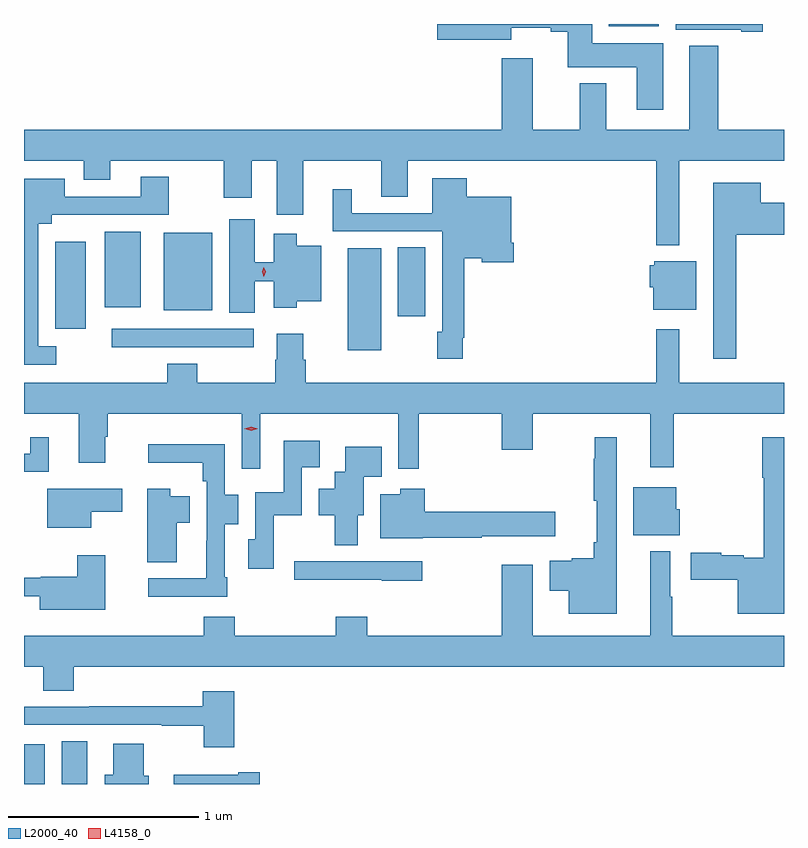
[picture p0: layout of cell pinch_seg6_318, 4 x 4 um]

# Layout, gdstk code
import gdstk
lib = gdstk.Library(unit=1e-6, precision=1e-09)
def R(c, l, rs):  # rectangles x0, y0, x1, y1
    for r in rs: c.add(gdstk.rectangle(r[:2], r[2:], *l))
def P(c, l, *ps):  # polygons
    for p in ps: c.add(gdstk.Polygon(p, *l))
L2000_40 = (2000, 40)
L4158_0 = (4158, 0)

pinch_seg6_318 = lib.new_cell('pinch_seg6_318')
R(pinch_seg6_318, L2000_40, [(665.99,982.684,666.1,982.894), (666.188,982.684,666.322,982.91), (667.694,984.968,667.87,985.504), (666.453,984.984,667.198,985.08), (666.155,985.079,666.316,985.537), (667.958,985.146,668.101,985.508), (666.725,985.178,666.982,985.585), (666.416,985.193,666.604,985.591), (669.068,986.672,669.331,986.684)])
P(pinch_seg6_318, L2000_40, [(669.877,986.684),(669.419,986.684),(669.419,986.654),(669.764,986.654),(669.764,986.642),(669.877,986.642)],
  [(669.355,986.584),(668.98,986.584),(668.98,986.684),(668.166,986.684),(668.166,986.602),(668.554,986.602),(668.554,986.663),(668.762,986.663),(668.762,986.644),(668.851,986.644),(668.851,986.456),(669.215,986.456),(669.215,986.232),(669.355,986.232)],
  [(669.439,985.964),(669.99,985.964),(669.99,986.128),(669.644,986.128),(669.644,986.569),(669.491,986.569),(669.491,986.128),(669.055,986.128),(669.055,986.371),(668.915,986.371),(668.915,986.128),(668.668,986.128),(668.668,986.503),(668.504,986.503),(668.504,986.128),(665.99,986.128),(665.99,985.964),(666.305,985.964),(666.305,985.865),(666.445,985.865),(666.445,985.964),(667.042,985.964),(667.042,985.77),(667.189,985.77),(667.189,985.964),(667.319,985.964),(667.319,985.68),(667.459,985.68),(667.459,985.964),(667.871,985.964),(667.871,985.774),(668.011,985.774),(668.011,985.964),(669.318,985.964),(669.318,985.52),(669.439,985.52)],
  [(666.16,984.987),(666.066,984.987),(666.066,985.634),(666.136,985.634),(666.136,985.68),(666.753,985.68),(666.753,985.879),(666.605,985.879),(666.605,985.776),(666.205,985.776),(666.205,985.87),(665.99,985.87),(665.99,984.891),(666.16,984.891)],
  [(668.299,985.033),(668.306,985.033),(668.306,985.451),(668.4,985.451),(668.4,985.43),(668.567,985.43),(668.567,985.534),(668.554,985.534),(668.554,985.774),(668.32,985.774),(668.32,985.873),(668.138,985.873),(668.138,985.689),(667.714,985.689),(667.714,985.813),(667.616,985.813),(667.616,985.593),(668.19,985.593),(668.19,985.065),(668.164,985.065),(668.164,984.921),(668.299,984.921)],
  [(669.739,985.574),(669.99,985.574),(669.99,985.744),(669.868,985.744),(669.868,985.849),(669.617,985.849),(669.617,984.921),(669.739,984.921)],
  [(667.204,985.33),(667.304,985.33),(667.304,985.19),(667.426,985.19),(667.426,985.226),(667.555,985.226),(667.555,985.516),(667.426,985.516),(667.426,985.579),(667.304,985.579),(667.304,985.431),(667.204,985.431),(667.204,985.657),(667.07,985.657),(667.07,985.165),(667.204,985.165)],
  [(669.529,985.435),(669.306,985.435),(669.306,985.413),(669.284,985.413),(669.284,985.299),(669.302,985.299),(669.302,985.181),(669.529,985.181)],
  [(667.233,984.632),(667.959,984.632),(667.959,984.342),(668.068,984.342),(668.068,984.632),(668.504,984.632),(668.504,984.444),(668.668,984.444),(668.668,984.632),(669.287,984.632),(669.287,984.351),(669.409,984.351),(669.409,984.632),(669.99,984.632),(669.99,984.796),(669.439,984.796),(669.439,985.078),(669.318,985.078),(669.318,984.796),(667.472,984.796),(667.472,984.917),(667.459,984.917),(667.459,985.054),(667.319,985.054),(667.319,984.917),(667.312,984.917),(667.312,984.796),(666.903,984.796),(666.903,984.895),(666.743,984.895),(666.743,984.796),(665.99,984.796),(665.99,984.632),(666.278,984.632),(666.278,984.375),(666.418,984.375),(666.418,984.512),(666.431,984.512),(666.431,984.632),(667.137,984.632),(667.137,984.342),(667.233,984.342)],
  [(669.109,984.508),(668.995,984.508),(668.995,984.395),(668.988,984.395),(668.988,984.176),(669.005,984.176),(669.005,983.956),(668.988,983.956),(668.988,983.873),(668.872,983.873),(668.872,983.86),(668.757,983.86),(668.757,983.702),(668.858,983.702),(668.858,983.579),(669.109,983.579)],
  [(666.121,984.508),(666.023,984.508),(666.023,984.423),(665.99,984.423),(665.99,984.327),(666.121,984.327)],
  [(669.99,984.508),(669.876,984.508),(669.876,984.295),(669.883,984.295),(669.883,983.875),(669.779,983.875),(669.779,983.888),(669.66,983.888),(669.66,983.9),(669.498,983.9),(669.498,983.758),(669.746,983.758),(669.746,983.579),(669.99,983.579)],
  [(667.305,984.098),(667.452,984.098),(667.452,984.35),(667.546,984.35),(667.546,984.49),(667.356,984.49),(667.356,984.22),(667.206,984.22),(667.206,983.973),(667.169,983.973),(667.169,983.817),(667.305,983.817)],
  [(667.06,983.773),(667.047,983.773),(667.047,984.052),(667.117,984.052),(667.117,984.207),(667.047,984.207),(667.047,984.472),(666.645,984.472),(666.645,984.374),(666.931,984.374),(666.931,984.278),(666.951,984.278),(666.951,983.963),(666.95,983.963),(666.95,983.766),(666.645,983.766),(666.645,983.67),(667.06,983.67)],
  [(667.747,984.098),(667.777,984.098),(667.777,984.302),(667.874,984.302),(667.874,984.46),(667.68,984.46),(667.68,984.328),(667.625,984.328),(667.625,984.238),(667.541,984.238),(667.541,984.098),(667.625,984.098),(667.625,983.941),(667.747,983.941)],
  [(669.442,984.129),(669.424,984.129),(669.424,984.247),(669.197,984.247),(669.197,983.993),(669.442,983.993)],
  [(668.088,983.98),(668.4,983.98),(668.4,983.987),(668.785,983.987),(668.785,984.117),(668.4,984.117),(668.4,984.116),(668.1,984.116),(668.1,984.238),(667.97,984.238),(667.97,984.208),(667.865,984.208),(667.865,983.978),(668.088,983.978)],
  [(666.343,984.116),(666.508,984.116),(666.508,984.238),(666.113,984.238),(666.113,984.032),(666.343,984.032)],
  [(666.793,984.059),(666.862,984.059),(666.862,984.199),(666.76,984.199),(666.76,984.238),(666.638,984.238),(666.638,983.851),(666.793,983.851)],
  [(665.99,983.3),(666.091,983.3),(666.091,983.176),(666.251,983.176),(666.251,983.3),(669.99,983.3),(669.99,983.464),(669.401,983.464),(669.401,983.669),(669.391,983.669),(669.391,983.908),(669.287,983.908),(669.287,983.464),(668.668,983.464),(668.668,983.839),(668.504,983.839),(668.504,983.464),(667.796,983.464),(667.796,983.563),(667.631,983.563),(667.631,983.464),(667.1,983.464),(667.1,983.563),(666.935,983.563),(666.935,983.464),(665.99,983.464)],
  [(666.418,983.887),(666.271,983.887),(666.271,983.774),(666.078,983.774),(666.078,983.769),(665.99,983.769),(665.99,983.672),(666.074,983.672),(666.074,983.6),(666.418,983.6)],
  [(668.086,983.856),(667.413,983.856),(667.413,983.759),(667.873,983.759),(667.873,983.755),(668.086,983.755)],
  [(667.097,983.173),(666.932,983.173),(666.932,983.093),(666.334,983.093),(666.334,983.091),(665.99,983.091),(665.99,982.995),(666.715,982.995),(666.715,982.99),(666.937,982.99),(666.937,982.878),(667.097,982.878)],
  [(666.646,982.728),(666.619,982.728),(666.619,982.897),(666.461,982.897),(666.461,982.732),(666.416,982.732),(666.416,982.684),(666.646,982.684)],
  [(667.231,982.745),(667.118,982.745),(667.118,982.732),(666.779,982.732),(666.779,982.684),(667.231,982.684)])
P(pinch_seg6_318, L4158_0, [(667.253,985.353),(667.253,985.353),(667.243,985.379),(667.253,985.405),(667.253,985.405),(667.253,985.405),(667.263,985.379),(667.253,985.353)],
  [(667.185,984.543),(667.149,984.553),(667.149,984.553),(667.149,984.553),(667.185,984.563),(667.221,984.553),(667.221,984.553),(667.221,984.553)])

lib.write_gds('pinch_seg6_318.gds')
